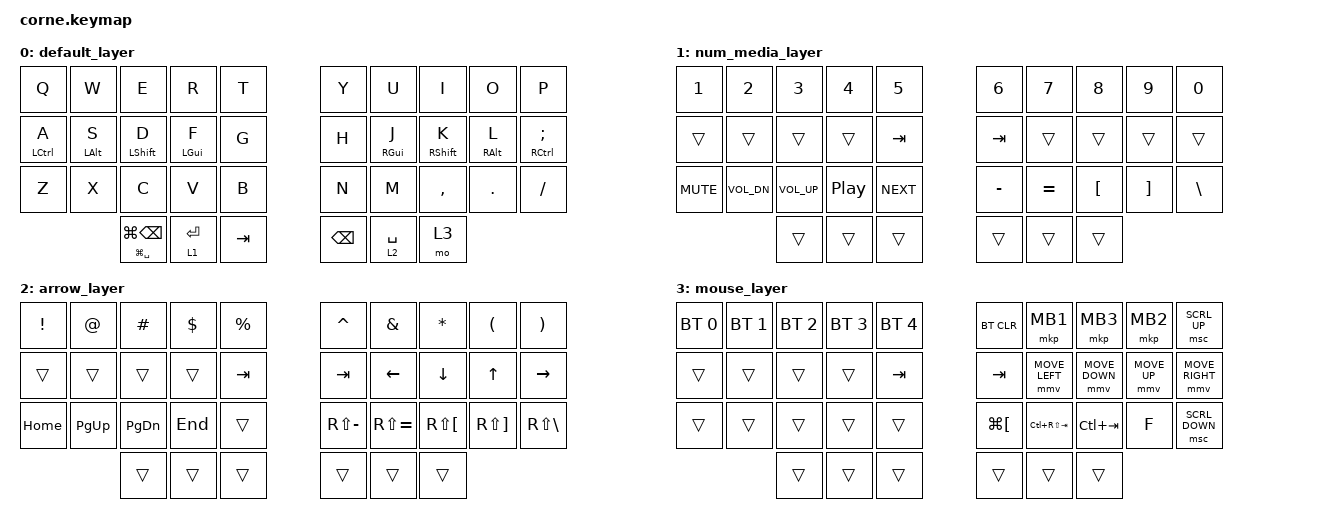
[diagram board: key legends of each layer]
/*
 * Copyright (c) 2025 S Gelbart
 *
 * SPDX-License-Identifier: MIT
 */

#define ZMK_POINTING_DEFAULT_MOVE_VAL 600  // default: 1000
#define ZMK_POINTING_DEFAULT_SCRL_VAL 10    // default: 30

#include <behaviors.dtsi>
#include <dt-bindings/zmk/keys.h>
#include <dt-bindings/zmk/bt.h>
#include <dt-bindings/zmk/pointing.h>
#include <dt-bindings/zmk/rgb.h>


/ {  
        chosen {
        zmk,physical-layout = &foostan_corne_5col_layout;
    };

combos {
        compatible = "zmk,combos";
        combo_esc {
            timeout-ms = <50>;
            key-positions = <10 11>;
            bindings = <&kp ESC>;
        };
//combo_tab {
  //          timeout-ms = <50>;
    //        key-positions = <LCTRL LALT>;
      //      bindings = <&kp TAB>;
 //       };
combo_SQT {
            timeout-ms = <50>;
            key-positions = <18 19>;
            bindings = <&kp SQT>;
        };
combo_tilde {
            timeout-ms = <50>;
            key-positions = <0 1>;
            bindings = <&kp GRAVE>;
        };
    };


        keymap {
                compatible = "zmk,keymap";

        default_layer {
// -----------------------------------------------------------------------------------------
// |  Q  |  W  |  E  |  R  |  T  |   |  Y  |  U   |  I  |  O  |  P  |
// |  A  |  S  |  D  |  F  |  G  |   |  H  |  J   |  K  |  L  |  ;  |
// |  Z  |  X  |  C  |  V  |  B  |   |  N  |  M   |  ,  |  .  |  /  |
//                    | LG DEL/spc | RET/ numlayer | TAB |   | DEL | SPACE/ arrows | mouselayer |
                        bindings = <
 &kp Q &kp W &kp E &kp R &kp T   &kp Y &kp U  &kp I     &kp O   &kp P    
   &mt LCTRL A &mt LALT S &mt LSHFT D &mt LGUI F &kp G   &kp H &mt RGUI J &mt RSHFT K  &mt RALT L   &mt RCTRL SEMI 
 &kp Z &kp X &kp C &kp V &kp B   &kp N &kp M  &kp COMMA &kp DOT &kp FSLH 
                  &mt LG(SPACE) LG(BSPC)  &lt 1 ENTER &kp TAB   &kp BSPC &lt 2 SPACE &mo 3
                        >;
                };

        num_media_layer {
// -----------------------------------------------------------------------------------------
// |  1 |  2  |  3  |  4  |  5   |   |  6  |  7  |  8  |  9  |  0  |
// |     |     |     |     |   TAB  |   | TAB |     |     |     |     ||
// |  mute  |  vol-  |  vol+  |  play  |  next  |   |  -  |  =  |  [  |  ]  |  \  |
//                    | GUI | RET | TAB |   | DEL | SPACE  | ALT |
                        bindings = <
   &kp N1       &kp N2       &kp N3       &kp N4       &kp N5         &kp N6   &kp N7   &kp N8 &kp N9    &kp N0    
  &trans       &trans       &trans       &trans       &kp TAB         &kp TAB   &trans   &trans &trans    &trans 
   &kp C_MUTE &kp C_VOL_DN &kp C_VOL_UP &kp C_PP &kp C_NEXT   &kp MINUS &kp EQUAL &kp LBKT  &kp RBKT &kp BSLH 
                  &trans &trans &trans   &trans &trans &trans
                        >;
                };

        arrow_layer {
// -----------------------------------------------------------------------------------------
// |  !  |  @  |  #  |  $  |  %  |   |  ^  |  &  |  *  |  (  |  )  |
// |     |     |     |     |   TAB  |   | TAB  LFT | DWN |  UP | RGT 
// |  home  |  pgup  |  pgdn  |  end  |    |  |  _  |  +  |  {  |  }  | "|" |
//                    | GUI | RET | TAB |   | DEL | SPACE  | ALT |
                        bindings = <
  &kp EXCL &kp AT &kp HASH &kp DLLR &kp PRCNT   &kp CARET &kp AMPS  &kp ASTRK &kp LPAR &kp RPAR    
  &trans       &trans       &trans       &trans       &kp TAB         &kp TAB   &kp LEFT &kp DOWN &kp UP &kp RIGHT 
   &kp HOME &kp PG_UP &kp PG_DN &kp END &trans   &kp RS(MINUS) &kp RS(EQUAL) &kp RS(LBKT)  &kp RS(RBKT) &kp RS(BSLH) 
                  &trans &trans &trans   &trans &trans &trans
                        >;
                };

        mouse_layer {
// -----------------------------------------------------------------------------------------
// | BT1 | BT2 | BT3 | BT4 | BT5 |   | BTCLR   |  mouse1  |  mouse3  |  mouse2  |  wheelup  
// |     |     |     |     |    |  TAB | TAB  | mouselft | mousedown | mouseup | mousert
// |    |    |    |    |    |  |  _  |  +  |  {  |  }  | wheeldn|
//                    | GUI | RET | TAB |   | DEL | SPACE  | ALT |
                        bindings = <
    &bt BT_SEL 0 &bt BT_SEL 1 &bt BT_SEL 2 &bt BT_SEL 3 &bt BT_SEL 4          &bt BT_CLR   &mkp MB1   &mkp MB3 &mkp MB2     &msc SCRL_UP    
  &trans       &trans       &trans       &trans       &kp TAB         &kp TAB   &mmv MOVE_LEFT &mmv MOVE_DOWN &mmv MOVE_UP &mmv MOVE_RIGHT 
   &trans  &trans  &trans  &trans  &trans       &kp LG(LBKT) &kp LC(RS(TAB)) &kp LC(TAB)  &kp F &msc SCRL_DOWN 
                  &trans &trans &trans   &trans &trans &trans
                        >;
                };

//mouse_layer {
// -----------------------------------------------------------------------------------------
// | BTCLR| BT1 | BT2 | BT3 | BT4 | BT5 |   |    |  mouse1  |  mouse3  |  mouse2  |  wheelup  
// |     |     |     |     |    |  TAB | TAB  | mouselft | mousedown | mouseup | mousert
// |  rgbonoff  |   rgbmode |  hueup  |  huedn  |  next  |  |  _  |  +  |  {  |  }  | wheeldn|
//                    | GUI | RET | TAB |   | DEL | SPACE  | ALT |
 //                       bindings = <
 // &none &bt BT_CLR &bt BT_SEL 0 &bt BT_SEL 1 &bt BT_SEL 2 &bt BT_SEL 3 &bt BT_SEL 4          &trans   &mkp MB1   &mkp MB3 &mkp MB2     &msc SCRL_UP &none   
// &none &trans       &trans       &trans       &trans       &kp TAB         &kp TAB   &mmv MOVE_LEFT &mmv MOVE_DOWN &mmv MOVE_UP &mmv MOVE_RIGHT &none
// &none  &rgb_ug RGB_TOG &rgb_ug RGB_EFF &rgb_ug RGB_EFF &rgb_ug RGB_EFR &trans       &kp LG(LBKT) &kp LC(RS(TAB)) &kp LC(TAB)  &kp F &msc SCRL_DOWN &none
//                  &trans &trans &trans   &trans &trans &mo 3
  //                      >;
 //               };


//               original_default_layer {
// -----------------------------------------------------------------------------------------
// |  TAB |  Q  |  W  |  E  |  R  |  T  |   |  Y  |  U   |  I  |  O  |  P  | BSPC |
// |  A  |  S  |  D  |  F  |  G  |   |  H  |  J   |  K  |  L  |  ;  |  '   |
// |  Z  |  X  |  C  |  V  |  B  |   |  N  |  M   |  ,  |  .  |  /  | ESC  |
//                    | GUI | LWR | SPC |   | ENT | RSE  | ALT |
//                        bindings = <
//   &kp TAB   &kp Q &kp W &kp E &kp R &kp T   &kp Y &kp U  &kp I     &kp O   &kp P    &kp BSPC
//   &kp LCTRL &kp A &kp S &kp D &kp F &kp G   &kp H &kp J  &kp K     &kp L   &kp SEMI &kp SQT
//   &kp LSHFT &kp Z &kp X &kp C &kp V &kp B   &kp N &kp M  &kp COMMA &kp DOT &kp FSLH &kp ESC
//                  &kp LGUI &mo 1 &kp SPACE   &kp RET &mo 2 &kp RALT
//                        >;
//                };


//
//             original_lower_layer {
// -----------------------------------------------------------------------------------------
// |  TAB |  1  |  2  |  3  |  4  |  5  |   |  6  |  7  |  8  |  9  |  0  | BSPC |
// | BTCLR| BT1 | BT2 | BT3 | BT4 | BT5 |   | LFT | DWN |  UP | RGT |     |      |
// | SHFT |     |     |     |     |     |   |     |     |     |     |     |      |
//                    | GUI |     | SPC |   | ENT |     | ALT |
//                        bindings = <
//  &kp TAB    &kp N1       &kp N2       &kp N3       &kp N4       &kp N5         &kp N6   &kp N7   &kp N8 &kp N9    &kp N0 &kp BSPC
//   &bt BT_CLR &bt BT_SEL 0 &bt BT_SEL 1 &bt BT_SEL 2 &bt BT_SEL 3 &bt BT_SEL 4   &kp LEFT &kp DOWN &kp UP &kp RIGHT &trans &trans
//   &kp LSHFT  &trans       &trans       &trans       &trans       &trans         &trans   &trans   &trans &trans    &trans &trans
//                                    &kp LGUI     &trans       &kp SPACE      &kp RET  &trans   &kp RALT
//                        >;
//                };
//
//                original_raise_layer {
//  -----------------------------------------------------------------------------------------
// |  TAB |  !  |  @  |  #  |  $  |  %  |   |  ^  |  &  |  *  |  (  |  )  | BSPC |
// | CTRL |     |     |     |     |     |   |  -  |  =  |  [  |  ]  |  \  |  `   |
// | SHFT |     |     |     |     |     |   |  _  |  +  |  {  |  }  | "|" |  ~   |
//                    | GUI |     | SPC |   | ENT |     | ALT |
//                       bindings = <
//   &kp  TAB  &kp EXCL &kp AT &kp HASH &kp DLLR &kp PRCNT   &kp CARET &kp AMPS  &kp ASTRK &kp LPAR &kp RPAR &kp BSPC
//  &kp LCTRL &trans   &trans &trans   &trans   &trans      &kp MINUS &kp EQUAL &kp LBKT  &kp RBKT &kp BSLH &kp GRAVE
//  &kp LSHFT &trans   &trans &trans   &trans   &trans      &kp UNDER &kp PLUS  &kp LBRC  &kp RBRC &kp PIPE &kp TILDE
//                             &kp LGUI &trans   &kp SPACE   &kp RET   &trans    &kp RALT
//                        >;
//                };
        };
};
